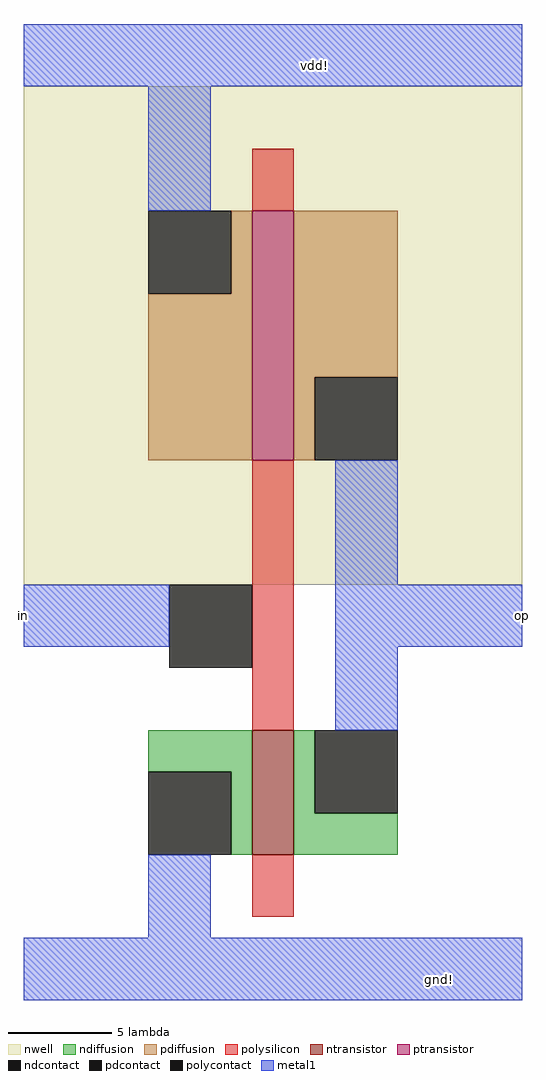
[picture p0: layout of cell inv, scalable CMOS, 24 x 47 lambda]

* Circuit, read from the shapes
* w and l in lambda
.subckt inv gnd! in op vdd!
M1 op in gnd! VSUBS nfet w=6 l=2
M2 op in vdd! n1 pfet w=12 l=2
.ends

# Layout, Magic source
magic
tech scmos
<< nwell >>
rect 0 6 24 30
<< ntransistor >>
rect 11 -7 13 -1
<< ptransistor >>
rect 11 12 13 24
<< ndiffusion >>
rect 6 -3 11 -1
rect 10 -7 11 -3
rect 13 -5 14 -1
rect 13 -7 18 -5
<< pdiffusion >>
rect 10 20 11 24
rect 6 12 11 20
rect 13 16 18 24
rect 13 12 14 16
<< ndcontact >>
rect 6 -7 10 -3
rect 14 -5 18 -1
<< pdcontact >>
rect 6 20 10 24
rect 14 12 18 16
<< polysilicon >>
rect 11 24 13 27
rect 11 -1 13 12
rect 11 -10 13 -7
<< polycontact >>
rect 7 2 11 6
<< metal1 >>
rect 0 30 24 33
rect 6 24 9 30
rect 15 6 18 12
rect 0 3 7 6
rect 15 3 24 6
rect 15 -1 18 3
rect 6 -11 9 -7
rect 0 -14 24 -11
<< labels >>
rlabel metal1 14 31 14 31 5 vdd!
rlabel metal1 24 3 24 6 7 op
rlabel metal1 0 3 0 6 3 in
rlabel metal1 20 -13 20 -13 1 gnd!
<< end >>
